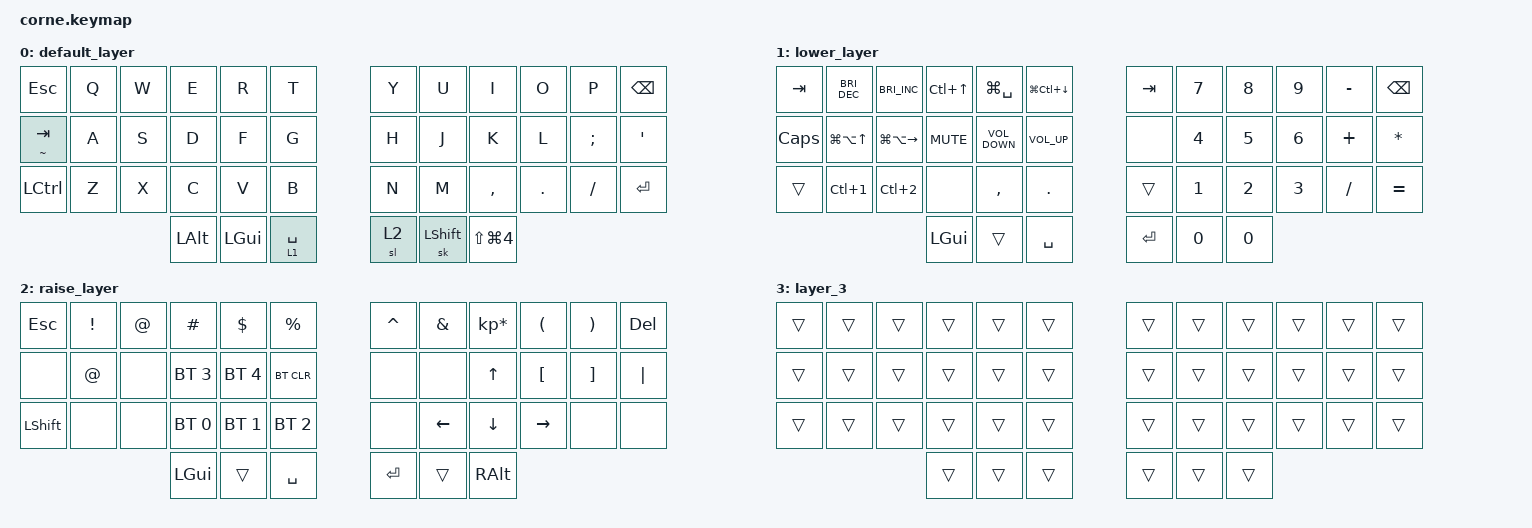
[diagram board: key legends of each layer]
/*
 * Copyright (c) 2020 The ZMK Contributors
 *
 * SPDX-License-Identifier: MIT
 */

#include <behaviors.dtsi>
#include <dt-bindings/zmk/bt.h>
#include <dt-bindings/zmk/keys.h>

/ {
    keymap {
        compatible = "zmk,keymap";

        default_layer {
            // -----------------------------------------------------------------------------------------
            // |  TAB |  Q  |  W  |  E  |  R  |  T  |   |  Y  |  U   |  I  |  O  |  P  | BKSP |
            // | CTRL |  A  |  S  |  D  |  F  |  G  |   |  H  |  J   |  K  |  L  |  ;  |  '   |
            // | SHFT |  Z  |  X  |  C  |  V  |  B  |   |  N  |  M   |  ,  |  .  |  /  | ESC  |
            //                    | GUI | LWR | SPC |   | ENT | RSE  | ALT |

            bindings = <
&kp ESC           &kp Q  &kp W  &kp E         &kp R     &kp T          &kp Y  &kp U      &kp I                 &kp O    &kp P     &kp BSPC
&mt TILDE TAB     &kp A  &kp S  &kp D         &kp F     &kp G          &kp H  &kp J      &kp K                 &kp L    &kp SEMI  &kp SQT
&kp LEFT_CONTROL  &kp Z  &kp X  &kp C         &kp V     &kp B          &kp N  &kp M      &kp COMMA             &kp DOT  &kp FSLH  &kp RET
                                &kp LEFT_ALT  &kp LGUI  &lt 1 SPACE    &sl 2  &sk LSHFT  &kp LS(LG(NUMBER_4))
            >;
        };

        lower_layer {
            // -----------------------------------------------------------------------------------------
            // |  TAB |  1  |  2  |  3  |  4  |  5  |   |  6  |  7  |  8  |  9  |  0  | BKSP |
            // | BTCLR| BT1 | BT2 | BT3 | BT4 | BT5 |   | LFT | DWN |  UP | RGT |     |      |
            // | SHFT |     |     |     |     |     |   |     |     |     |     |     |      |
            //                    | GUI |     | SPC |   | ENT |     | ALT |

            bindings = <
&kp TAB       &kp C_BRIGHTNESS_DEC  &kp C_BRIGHTNESS_INC  &kp LC(UP_ARROW)  &kp LG(SPACE)      &kp LG(LC(DOWN_ARROW))    &kp TAB  &kp N7  &kp N8  &kp N9  &kp MINUS  &kp BACKSPACE
&kp CAPSLOCK  &kp LG(LA(UP_ARROW))  &kp LG(LA(RIGHT))     &kp K_MUTE        &kp C_VOLUME_DOWN  &kp C_VOLUME_UP           &none    &kp N4  &kp N5  &kp N6  &kp PLUS   &kp STAR
&trans        &kp LC(N1)            &kp LC(N2)            &none             &kp COMMA          &kp DOT                   &trans   &kp N1  &kp N2  &kp N3  &kp FSLH   &kp EQUAL
                                                          &kp LGUI          &trans             &kp SPACE                 &kp RET  &kp N0  &kp N0
            >;
        };

        raise_layer {
            // -----------------------------------------------------------------------------------------
            // |  TAB |  !  |  @  |  #  |  $  |  %  |   |  ^  |  &  |  *  |  (  |  )  | BKSP |
            // | CTRL |     |     |     |     |     |   |  -  |  =  |  [  |  ]  |  \  |  `   |
            // | SHFT |     |     |     |     |     |   |  _  |  +  |  {  |  }  | "|" |  ~   |
            //                    | GUI |     | SPC |   | ENT |     | ALT |

            bindings = <
&kp ESC    &kp EXCL  &kp AT  &kp HASH      &kp DLLR      &kp PRCNT       &kp CARET  &kp AMPS  &kp KP_MULTIPLY  &kp LPAR   &kp RPAR           &kp DELETE
&none      &kp AT    &none   &bt BT_SEL 3  &bt BT_SEL 4  &bt BT_CLR      &none      &none     &kp UP           &kp LBKT   &kp RIGHT_BRACKET  &kp PIPE
&kp LSHFT  &none     &none   &bt BT_SEL 0  &bt BT_SEL 1  &bt BT_SEL 2    &none      &kp LEFT  &kp DOWN         &kp RIGHT  &none              &none
                             &kp LGUI      &trans        &kp SPACE       &kp RET    &trans    &kp RALT
            >;
        };

        layer_3 {
            bindings = <
&trans  &trans  &trans  &trans  &trans  &trans    &trans  &trans  &trans  &trans  &trans  &trans
&trans  &trans  &trans  &trans  &trans  &trans    &trans  &trans  &trans  &trans  &trans  &trans
&trans  &trans  &trans  &trans  &trans  &trans    &trans  &trans  &trans  &trans  &trans  &trans
                        &trans  &trans  &trans    &trans  &trans  &trans
            >;
        };
    };
};
